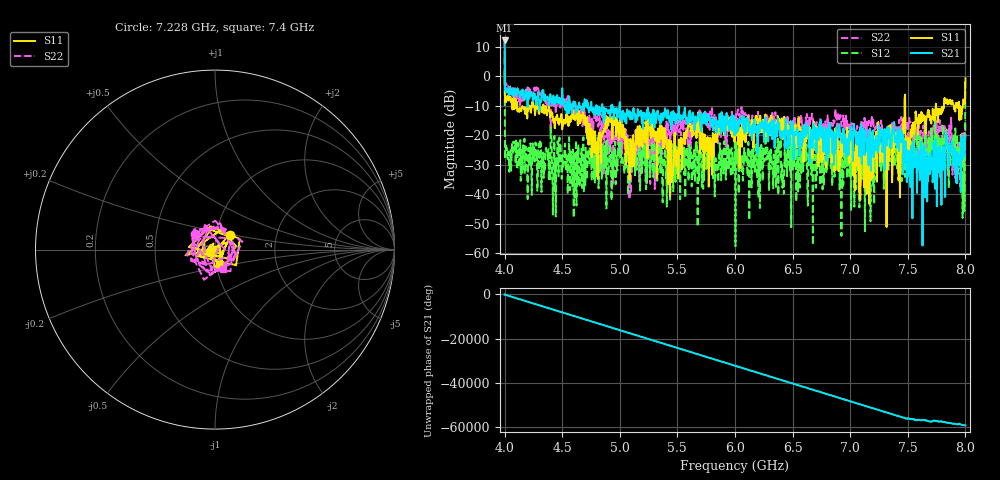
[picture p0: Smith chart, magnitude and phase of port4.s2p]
# Hz S RI R 50
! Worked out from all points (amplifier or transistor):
!   1001 points, 4 GHz to 8 GHz, reference 50 ohm
!   highest |S21| = 12.2 dB at 4 GHz (marker M1)
!   |S21| within 3 dB of that: start of sweep to 4.000706 GHz
!   unconditionally stable (mu >= 1): 4.003 GHz to 8 GHz
!   at 4.664 GHz: K = 36.18, MAG = -10.1 dB, |S12| = -27.6 dB
!   at 6 GHz: K = 15.70, MAG = -14.0 dB, |S12| = -16.2 dB
!   at 8 GHz: K = 0.69, MSG = -9.0 dB, |S12| = -1.9 dB
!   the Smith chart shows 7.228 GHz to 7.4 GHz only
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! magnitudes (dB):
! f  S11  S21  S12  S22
! 4 GHz  1.4  12.2  6.4  12.2
! 4.024 GHz  -6.6  -4.9  -27.4  -3.0
! 4.04 GHz  -6.7  -5.7  -32.3  -4.0
! 4.668 GHz  -13.1  -10.4  -24.5  -12.0
! 4.796 GHz  -22.4  -9.8  -26.0  -15.2
! 4.944 GHz  -13.5  -10.2  -34.6  -19.9
! 5.048 GHz  -24.7  -15.4  -30.7  -24.6
! 5.088 GHz  -32.1  -14.0  -36.4  -25.4
! 5.336 GHz  -18.4  -14.7  -27.8  -24.0
! 5.448 GHz  -31.8  -12.1  -29.2  -19.5
! 5.604 GHz  -16.9  -11.8  -23.1  -18.0
! 5.784 GHz  -20.8  -14.6  -30.5  -11.9
! 6 GHz  -14.1  -14.4  -16.2  -13.8
! 6.668 GHz  -21.4  -20.5  -28.3  -12.6
! 7.092 GHz  -28.3  -20.1  -29.5  -16.8
! 7.336 GHz  -20.6  -17.4  -24.9  -18.2
! 7.436 GHz  -24.9  -18.0  -31.8  -16.7
! 7.46 GHz  -14.8  -33.2  -26.0  -18.5
! 7.648 GHz  -14.2  -41.0  -27.3  -15.5
! 7.9 GHz  -9.8  -30.8  -26.8  -27.5
! 7.976 GHz  -10.9  -27.9  -48.0  -30.3
! 8 GHz  -0.6  -19.9  -1.9  -14.8
